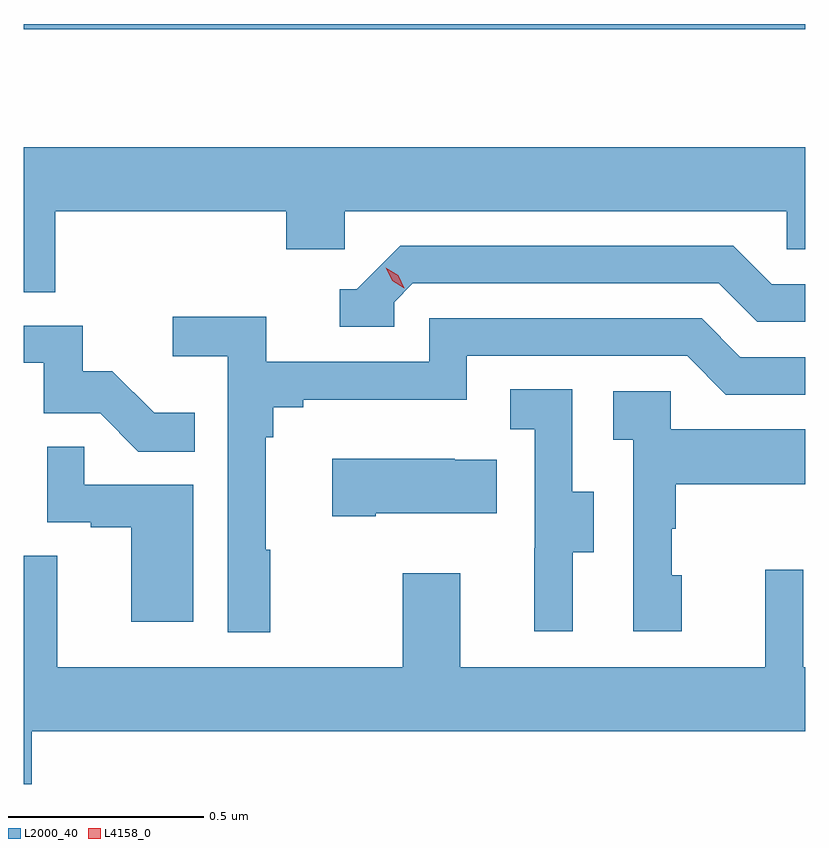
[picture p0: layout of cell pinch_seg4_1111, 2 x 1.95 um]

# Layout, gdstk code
import gdstk
lib = gdstk.Library(unit=1e-6, precision=1e-09)
def R(c, l, rs):  # rectangles x0, y0, x1, y1
    for r in rs: c.add(gdstk.rectangle(r[:2], r[2:], *l))
def P(c, l, *ps):  # polygons
    for p in ps: c.add(gdstk.Polygon(p, *l))
L2000_40 = (2000, 40)
L4158_0 = (4158, 0)

pinch_seg4_1111 = lib.new_cell('pinch_seg4_1111')
R(pinch_seg4_1111, L2000_40, [(865.71,762.654,867.71,762.667)])
P(pinch_seg4_1111, L2000_40, [(865.79,762.188),(866.381,762.188),(866.381,762.09),(866.532,762.09),(866.532,762.188),(867.663,762.188),(867.663,762.09),(867.71,762.09),(867.71,762.352),(865.71,762.352),(865.71,761.98),(865.79,761.98)],
  [(866.658,761.955),(866.706,762.003),(867.489,762.003),(867.588,761.904),(867.71,761.904),(867.71,762),(867.625,762),(867.526,762.099),(866.673,762.099),(866.562,761.988),(866.519,761.988),(866.519,761.892),(866.658,761.892)],
  [(866.341,761.321),(866.329,761.321),(866.329,761.609),(866.348,761.609),(866.348,761.686),(866.425,761.686),(866.425,761.705),(866.844,761.705),(866.844,761.817),(867.408,761.817),(867.507,761.718),(867.71,761.718),(867.71,761.814),(867.544,761.814),(867.445,761.913),(866.748,761.913),(866.748,761.802),(866.33,761.802),(866.33,761.918),(866.091,761.918),(866.091,761.816),(866.232,761.816),(866.232,761.109),(866.341,761.109)],
  [(866.147,761.671),(866.043,761.671),(865.936,761.778),(865.86,761.778),(865.86,761.895),(865.71,761.895),(865.71,761.799),(865.761,761.799),(865.761,761.67),(865.905,761.67),(866.003,761.572),(866.147,761.572)],
  [(867.115,761.314),(867.169,761.314),(867.169,761.469),(867.114,761.469),(867.114,761.732),(866.955,761.732),(866.955,761.629),(867.018,761.629),(867.018,761.325),(867.017,761.325),(867.017,761.112),(867.115,761.112)],
  [(867.394,761.256),(867.369,761.256),(867.369,761.375),(867.379,761.375),(867.379,761.489),(867.71,761.489),(867.71,761.629),(867.366,761.629),(867.366,761.727),(867.219,761.727),(867.219,761.603),(867.27,761.603),(867.27,761.112),(867.394,761.112)],
  [(866.143,761.487),(865.865,761.487),(865.865,761.585),(865.77,761.585),(865.77,761.391),(865.881,761.391),(865.881,761.379),(865.985,761.379),(865.985,761.136),(866.143,761.136)],
  [(866.611,761.414),(866.921,761.414),(866.921,761.551),(866.813,761.551),(866.813,761.554),(866.499,761.554),(866.499,761.407),(866.611,761.407)],
  [(865.73,760.856),(867.71,760.856),(867.71,761.02),(867.705,761.02),(867.705,761.269),(867.608,761.269),(867.608,761.02),(866.827,761.02),(866.827,761.26),(866.68,761.26),(866.68,761.02),(865.795,761.02),(865.795,761.306),(865.71,761.306),(865.71,760.721),(865.73,760.721)])
P(pinch_seg4_1111, L4158_0, [(866.684,761.991),(866.653,762.01),(866.637,762.043),(866.637,762.043),(866.637,762.043),(866.668,762.024),(866.684,761.991),(866.684,761.991)])

lib.write_gds('pinch_seg4_1111.gds')
